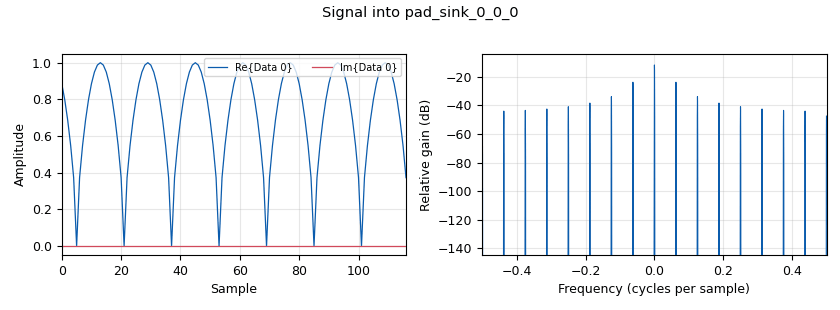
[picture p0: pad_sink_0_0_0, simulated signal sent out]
<?xml version='1.0' encoding='utf-8'?>
<?grc format='1' created='3.7.9'?>
<flow_graph>
<block>
<key>options</key>
<param><key>id</key><value>b_RNyquis_Filter_cc</value></param>
<param><key>author</key><value>Done by: Homero Ortega Boada. Universidad Industrial de Santander</value></param>
<param><key>category</key><value>comdiguis</value></param>
<param><key>description</key><value>It is the Root Nyquist Filter in a proof period. I means that that two of this blocks, for example one on the transmitter and one on the receiver form a Nyquist Filter. Parameters: Sps - the number of samples per simbol the filter will produce; ntaps- the number of components in the impulse response</value></param>
<param><key>generate_options</key><value>hb</value></param>
<param><key>title</key><value>b_RNyquist_Filter_cc</value></param>
</block>
<block>
<key>variable</key>
<param><key>id</key><value>Amp</value></param>
<param><key>value</key><value>numpy.amax(taps)</value></param>
</block>
<block>
<key>variable</key>
<param><key>id</key><value>n_vector</value></param>
<param><key>value</key><value>numpy.linspace(ntaps_min,ntaps_max,ntaps)</value></param>
</block>
<block>
<key>variable</key>
<param><key>id</key><value>ntaps_max</value></param>
<param><key>value</key><value>abs(ntaps_min)-1+math.ceil(ntaps/2.-abs(ntaps_min))</value></param>
</block>
<block>
<key>variable</key>
<param><key>id</key><value>ntaps_min</value></param>
<param><key>value</key><value>-int(ntaps/2)</value></param>
</block>
<block>
<key>variable</key>
<param><key>id</key><value>taps</value></param>
<param><key>value</key><value>numpy.sqrt(numpy.sinc(n_vector/Sps))</value></param>
</block>
<block>
<key>parameter</key>
<param><key>id</key><value>Ganancia</value></param>
<param><key>label</key><value>Ganancia</value></param>
<param><key>type</key><value>eng_float</value></param>
<param><key>value</key><value>1.</value></param>
</block>
<block>
<key>parameter</key>
<param><key>id</key><value>Interpolation</value></param>
<param><key>_enabled</key><value>0</value></param>
<param><key>label</key><value>Interpolation</value></param>
<param><key>type</key><value>intx</value></param>
<param><key>value</key><value>1</value></param>
</block>
<block>
<key>parameter</key>
<param><key>id</key><value>Sps</value></param>
<param><key>type</key><value>intx</value></param>
<param><key>value</key><value>8</value></param>
</block>
<block>
<key>blocks_multiply_const_vxx</key>
<param><key>id</key><value>blocks_multiply_const_vxx_0</value></param>
<param><key>const</key><value>Ganancia</value></param>
<param><key>type</key><value>complex</value></param>
</block>
<block>
<key>blocks_vector_source_x</key>
<param><key>id</key><value>blocks_vector_source_x_0_0</value></param>
<param><key>type</key><value>complex</value></param>
<param><key>repeat</key><value>True</value></param>
<param><key>vector</key><value>taps</value></param>
</block>
<block>
<key>import</key>
<param><key>id</key><value>import_0</value></param>
<param><key>import</key><value>import numpy</value></param>
</block>
<block>
<key>import</key>
<param><key>id</key><value>import_0_0</value></param>
<param><key>import</key><value>import math</value></param>
</block>
<block>
<key>interp_fir_filter_xxx</key>
<param><key>id</key><value>interp_fir_filter_xxx_0_0</value></param>
<param><key>interp</key><value>Sps</value></param>
<param><key>taps</key><value>taps/Amp</value></param>
<param><key>type</key><value>ccc</value></param>
</block>
<block>
<key>parameter</key>
<param><key>id</key><value>ntaps</value></param>
<param><key>type</key><value>intx</value></param>
<param><key>value</key><value>16</value></param>
</block>
<block>
<key>pad_sink</key>
<param><key>id</key><value>pad_sink_0</value></param>
<param><key>type</key><value>complex</value></param>
<param><key>label</key><value>out</value></param>
</block>
<block>
<key>pad_sink</key>
<param><key>id</key><value>pad_sink_0_0_0</value></param>
<param><key>type</key><value>complex</value></param>
<param><key>label</key><value>h[n]</value></param>
<param><key>optional</key><value>True</value></param>
</block>
<block>
<key>pad_source</key>
<param><key>id</key><value>pad_source_0</value></param>
<param><key>label</key><value>in</value></param>
<param><key>type</key><value>complex</value></param>
</block>
<connection><source_block_id>blocks_multiply_const_vxx_0</source_block_id><sink_block_id>interp_fir_filter_xxx_0_0</sink_block_id><source_key>0</source_key><sink_key>0</sink_key></connection>
<connection><source_block_id>blocks_vector_source_x_0_0</source_block_id><sink_block_id>pad_sink_0_0_0</sink_block_id><source_key>0</source_key><sink_key>0</sink_key></connection>
<connection><source_block_id>interp_fir_filter_xxx_0_0</source_block_id><sink_block_id>pad_sink_0</sink_block_id><source_key>0</source_key><sink_key>0</sink_key></connection>
<connection><source_block_id>pad_source_0</source_block_id><sink_block_id>blocks_multiply_const_vxx_0</sink_block_id><source_key>0</source_key><sink_key>0</sink_key></connection>
</flow_graph>
